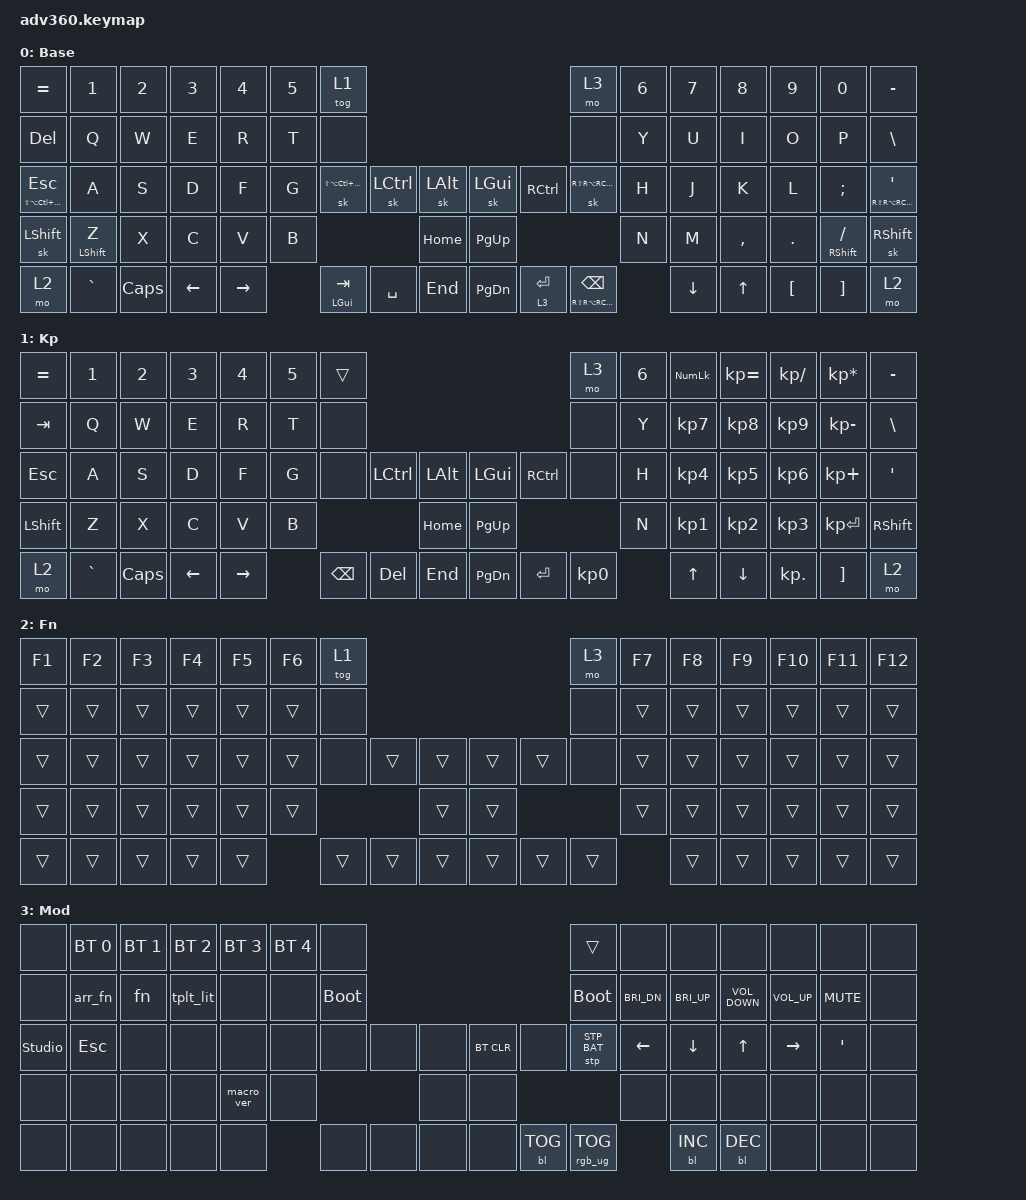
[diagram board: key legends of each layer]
#include <dt-bindings/zmk/stp.h>
#include <behaviors.dtsi>
#include <dt-bindings/zmk/backlight.h>
#include <dt-bindings/zmk/bt.h>
#include <dt-bindings/zmk/keys.h>
#include <dt-bindings/zmk/rgb.h>

&mt {
    tapping-term-ms = <170>;
    quick-tap-ms = <100>;
    flavor = "tap-preferred";
};

&lt { flavor = "hold-preferred"; };

/ {
    behaviors {
        #include "macros.dtsi"
      #include "version.dtsi"

        hm: homerow_mods {
            compatible = "zmk,behavior-hold-tap";
            label = "HOMEROW_MODS";
            #binding-cells = <2>;
            tapping-term-ms = <200>;
            quick_tap_ms = <175>;
            flavor = "tap-preferred";
            bindings = <&kp>, <&kp>;
        };

        hold_tap_k_k: hold_tap_k_k {
            compatible = "zmk,behavior-hold-tap";
            label = "HOLD_TAP_K_K";
            bindings = <&kp>, <&kp>;

            #binding-cells = <2>;
            tapping-term-ms = <150>;
        };
    };

    combos {
        compatible = "zmk,combos";

        df {
            bindings = <&sk LGUI>;
            key-positions = <32 31>;
        };

        jk {
            bindings = <&sk RGUI>;
            key-positions = <41 42>;
        };

        sd {
            bindings = <&sk LALT>;
            key-positions = <31 30>;
        };

        kl {
            bindings = <&sk RALT>;
            key-positions = <43 42>;
        };

        as {
            bindings = <&sk LCTRL>;
            key-positions = <29 30>;
        };

        l_semi {
            bindings = <&sk RCTRL>;
            key-positions = <44 43>;
        };

        cv {
            bindings = <&sk LSHFT>;
            key-positions = <49 50>;
        };

        m, {
            bindings = <&sk RSHFT>;
            key-positions = <55 56>;
        };

        left_hyper {
            bindings = <&sk LS(LA(LC(LG(LGUI))))>;
            key-positions = <32 31 30>;
        };

        right_hyper {
            bindings = <&sk RG(RC(RA(RS(RGUI))))>;
            key-positions = <41 42 43>;
        };

        caps {
            bindings = <&kp CAPS>;
            key-positions = <29 44>;
        };
    };

    macros {
        arr_fn: arr_fn {
            compatible = "zmk,behavior-macro";
            #binding-cells = <0>;
            bindings = <&none &kp LPAR &kp RPAR &kp SPACE &kp EQUAL &kp GT &kp SPACE &kp LBRC &kp RBRC>;
            label = "ARR_FN";
        };

        fn: fn {
            compatible = "zmk,behavior-macro";
            #binding-cells = <0>;
            bindings = <&none &kp F &kp U &kp N &kp C &kp T &kp I &kp O &kp N &kp SPACE &kp LPAR &kp RPAR &kp SPACE &kp LBRC &kp RBRC>;
            label = "FN";
        };

        tplt_lit: tplt_lit {
            compatible = "zmk,behavior-macro";
            #binding-cells = <0>;
            bindings = <&none &kp DLLR &kp LBRC &kp RBRC>;
            label = "TPLT_LIT";
        };
    };

    keymap {
        compatible = "zmk,keymap";

        default_layer {
            display-name = "Base";
            bindings = <
&kp EQUAL                               &kp N1        &kp N2    &kp N3    &kp N4     &kp N5  &tog 1                                                                     &mo 3                                         &kp N6  &kp N7    &kp N8        &kp N9    &kp N0           &kp MINUS
&kp DELETE                              &kp Q         &kp W     &kp E     &kp R      &kp T   &none                                                                      &none                                         &kp Y   &kp U     &kp I         &kp O     &kp P            &kp BSLH
&hold_tap_k_k LS(LA(LC(LG(LGUI)))) ESC  &kp A         &kp S     &kp D     &kp F      &kp G   &sk LS(LA(LC(LG(LGUI))))  &sk LCTRL  &sk LALT      &sk LGUI   &kp RCTRL    &sk RS(RA(RC(RG(RGUI))))                      &kp H   &kp J     &kp K         &kp L     &kp SEMI         &hold_tap_k_k RS(RA(RC(RG(RGUI)))) SQT
&sk LSHFT                               &mt LSHIFT Z  &kp X     &kp C     &kp V      &kp B                                        &kp HOME      &kp PG_UP                                                             &kp N   &kp M     &kp COMMA     &kp DOT   &mt RSHIFT FSLH  &sk RSHFT
&mo 2                                   &kp GRAVE     &kp CAPS  &kp LEFT  &kp RIGHT          &mt LGUI TAB              &kp SPACE  &kp END       &kp PG_DN  &lt 3 ENTER  &hold_tap_k_k RS(RA(RC(RG(RGUI)))) BACKSPACE          &kp DOWN  &kp UP_ARROW  &kp LBKT  &kp RBKT         &mo 2
            >;
        };

        keypad {
            display-name = "Kp";
            bindings = <
&kp EQUAL  &kp N1     &kp N2    &kp N3    &kp N4     &kp N5  &trans                                                   &mo 3      &kp N6  &kp KP_NUM  &kp KP_EQUAL  &kp KP_DIVIDE  &kp KP_MULTIPLY  &kp MINUS
&kp TAB    &kp Q      &kp W     &kp E     &kp R      &kp T   &none                                                    &none      &kp Y   &kp KP_N7   &kp KP_N8     &kp KP_N9      &kp KP_MINUS     &kp BSLH
&kp ESC    &kp A      &kp S     &kp D     &kp F      &kp G   &none     &kp LCTRL  &kp LALT      &kp LGUI   &kp RCTRL  &none      &kp H   &kp KP_N4   &kp KP_N5     &kp KP_N6      &kp KP_PLUS      &kp SQT
&kp LSHFT  &kp Z      &kp X     &kp C     &kp V      &kp B                        &kp HOME      &kp PG_UP                        &kp N   &kp KP_N1   &kp KP_N2     &kp KP_N3      &kp KP_ENTER     &kp RSHFT
&mo 2      &kp GRAVE  &kp CAPS  &kp LEFT  &kp RIGHT          &kp BSPC  &kp DEL    &kp END       &kp PG_DN  &kp ENTER  &kp KP_N0          &kp UP      &kp DOWN      &kp KP_DOT     &kp RBKT         &mo 2
            >;
        };

        fn {
            display-name = "Fn";
            bindings = <
&kp F1  &kp F2  &kp F3  &kp F4  &kp F5  &kp F6  &tog 1                                      &mo 3   &kp F7  &kp F8  &kp F9  &kp F10  &kp F11  &kp F12
&trans  &trans  &trans  &trans  &trans  &trans  &none                                       &none   &trans  &trans  &trans  &trans   &trans   &trans
&trans  &trans  &trans  &trans  &trans  &trans  &none   &trans  &trans      &trans  &trans  &none   &trans  &trans  &trans  &trans   &trans   &trans
&trans  &trans  &trans  &trans  &trans  &trans                  &trans      &trans                  &trans  &trans  &trans  &trans   &trans   &trans
&trans  &trans  &trans  &trans  &trans          &trans  &trans  &trans      &trans  &trans  &trans          &trans  &trans  &trans   &trans   &trans
            >;
        };

        mod {
            display-name = "Mod";
            bindings = <
&none           &bt BT_SEL 0  &bt BT_SEL 1  &bt BT_SEL 2  &bt BT_SEL 3  &bt BT_SEL 4  &none                                                  &trans           &none         &none         &none              &none            &none       &none
&none           &arr_fn       &fn           &tplt_lit     &none         &none         &bootloader                                            &bootloader      &kp C_BRI_DN  &kp C_BRI_UP  &kp C_VOLUME_DOWN  &kp C_VOLUME_UP  &kp C_MUTE  &none
&studio_unlock  &kp ESC       &none         &none         &none         &none         &none        &none  &none      &bt BT_CLR  &none       &stp STP_BAT     &kp LEFT      &kp DOWN      &kp UP             &kp RIGHT        &kp SQT     &none
&none           &none         &none         &none         &macro_ver    &none                             &none      &none                                    &none         &none         &none              &none            &none       &none
&none           &none         &none         &none         &none                       &none        &none  &none      &none       &bl BL_TOG  &rgb_ug RGB_TOG                &bl BL_INC    &bl BL_DEC         &none            &none       &none
            >;
        };

        extra1 {
            display-name = "Red";
            status = "reserved";
        };

        extra2 {
            display-name = "Purple";
            status = "reserved";
        };

        extra3 {
            display-name = "Cyan";
            status = "reserved";
        };

        extra4 {
            display-name = "Yellow";
            status = "reserved";
        };
    };
};
